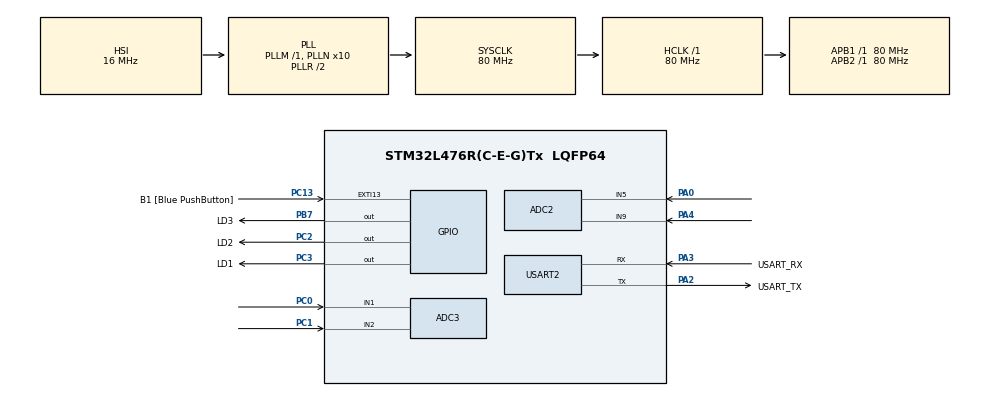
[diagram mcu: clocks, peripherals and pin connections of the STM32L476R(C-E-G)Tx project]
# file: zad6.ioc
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ADC2.Channel-2\#ChannelRegularConversion=ADC_CHANNEL_9
ADC2.Channel-3\#ChannelRegularConversion=ADC_CHANNEL_5
ADC2.NbrOfConversion=2
ADC2.NbrOfConversionFlag=1
ADC2.OffsetNumber-2\#ChannelRegularConversion=ADC_OFFSET_NONE
ADC2.OffsetNumber-3\#ChannelRegularConversion=ADC_OFFSET_NONE
ADC2.Overrun=ADC_OVR_DATA_OVERWRITTEN
ADC2.Rank-2\#ChannelRegularConversion=1
ADC2.Rank-3\#ChannelRegularConversion=2
ADC2.SamplingTime-2\#ChannelRegularConversion=ADC_SAMPLETIME_247CYCLES_5
ADC2.SamplingTime-3\#ChannelRegularConversion=ADC_SAMPLETIME_247CYCLES_5
ADC3.Channel-1\#ChannelRegularConversion=ADC_CHANNEL_1
ADC3.Channel-2\#ChannelRegularConversion=ADC_CHANNEL_2
ADC3.NbrOfConversion=2
ADC3.NbrOfConversionFlag=1
ADC3.OffsetNumber-1\#ChannelRegularConversion=ADC_OFFSET_NONE
ADC3.OffsetNumber-2\#ChannelRegularConversion=ADC_OFFSET_NONE
ADC3.Rank-1\#ChannelRegularConversion=1
ADC3.Rank-2\#ChannelRegularConversion=2
ADC3.SamplingTime-1\#ChannelRegularConversion=ADC_SAMPLETIME_640CYCLES_5
ADC3.SamplingTime-2\#ChannelRegularConversion=ADC_SAMPLETIME_640CYCLES_5
Mcu.Family=STM32L4
Mcu.Name=STM32L476R(C-E-G)Tx
Mcu.Package=LQFP64
NVIC.EXTI15_10_IRQn=true\:6\:0\:true\:false\:true\:true\:true\:true
NVIC.PriorityGroup=NVIC_PRIORITYGROUP_4
PA0.Signal=ADCx_IN5
PA13\ (JTMS-SWDIO).GPIO_Label=TMS
PA13\ (JTMS-SWDIO).Mode=Serial_Wire
PA13\ (JTMS-SWDIO).Signal=SYS_JTMS-SWDIO
PA14\ (JTCK-SWCLK).GPIO_Label=TCK
PA14\ (JTCK-SWCLK).Mode=Serial_Wire
PA14\ (JTCK-SWCLK).Signal=SYS_JTCK-SWCLK
PA2.GPIO_Label=USART_TX
PA2.GPIO_Mode=GPIO_MODE_AF_PP
PA2.GPIO_PuPd=GPIO_NOPULL
PA2.GPIO_Speed=GPIO_SPEED_FREQ_VERY_HIGH
PA2.Mode=Asynchronous
PA2.Signal=USART2_TX
PA3.GPIO_Label=USART_RX
PA3.GPIO_Mode=GPIO_MODE_AF_PP
PA3.GPIO_PuPd=GPIO_NOPULL
PA3.GPIO_Speed=GPIO_SPEED_FREQ_VERY_HIGH
PA3.Mode=Asynchronous
PA3.Signal=USART2_RX
PA4.Signal=ADCx_IN9
PB3\ (JTDO-TRACESWO).GPIO_Label=SWO
PB3\ (JTDO-TRACESWO).Signal=SYS_JTDO-SWO
PB7.GPIO_Label=LD3
PB7.Signal=GPIO_Output
PC0.Signal=ADCx_IN1
PC1.Signal=ADCx_IN2
PC13.GPIO_Label=B1 [Blue PushButton]
PC13.GPIO_ModeDefaultEXTI=GPIO_MODE_IT_FALLING
PC13.GPIO_PuPd=GPIO_NOPULL
PC13.Signal=GPXTI13
PC14-OSC32_IN\ (PC14).Mode=LSE-External-Oscillator
PC14-OSC32_IN\ (PC14).Signal=RCC_OSC32_IN
PC15-OSC32_OUT\ (PC15).Mode=LSE-External-Oscillator
PC15-OSC32_OUT\ (PC15).Signal=RCC_OSC32_OUT
PC2.GPIO_Label=LD2
PC2.Signal=GPIO_Output
PC3.GPIO_Label=LD1
PC3.Signal=GPIO_Output
PH0-OSC_IN\ (PH0).Signal=RCC_OSC_IN
PH1-OSC_OUT\ (PH1).Signal=RCC_OSC_OUT
ProjectManager.HeapSize=0x200
ProjectManager.StackSize=0x400
ProjectManager.TargetToolchain=STM32CubeIDE
RCC.ADCFreq_Value=64000000
RCC.AHBFreq_Value=80000000
RCC.APB1Freq_Value=80000000
RCC.APB1TimFreq_Value=80000000
RCC.APB2Freq_Value=80000000
RCC.APB2TimFreq_Value=80000000
RCC.CortexFreq_Value=80000000
RCC.HCLKFreq_Value=80000000
RCC.HSE_VALUE=8000000
RCC.HSI_VALUE=16000000
RCC.MSI_VALUE=4000000
RCC.PLLN=10
RCC.PLLSourceVirtual=RCC_PLLSOURCE_HSI
RCC.PREFETCH_ENABLE=1
RCC.SYSCLKFreq_VALUE=80000000
RCC.SYSCLKSource=RCC_SYSCLKSOURCE_PLLCLK
RCC.USBFreq_Value=64000000
RCC.VCOOutputFreq_Value=160000000
SH.ADCx_IN1.0=ADC3_IN1,IN1-Single-Ended
SH.ADCx_IN2.0=ADC3_IN2,IN2-Single-Ended
SH.ADCx_IN5.0=ADC2_IN5,IN5-Single-Ended
SH.ADCx_IN9.0=ADC2_IN9,IN9-Single-Ended
USART2.VirtualMode-Asynchronous=VM_ASYNC
board=NUCLEO-L476RG

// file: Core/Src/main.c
/* USER CODE BEGIN Header */
/**
  ******************************************************************************
  * @file           : main.c
  * @brief          : Main program body
  ******************************************************************************
  * @attention
  *
  * Copyright (c) 2025 STMicroelectronics.
  * All rights reserved.
  *
  * This software is licensed under terms that can be found in the LICENSE file
  * in the root directory of this software component.
  * If no LICENSE file comes with this software, it is provided AS-IS.
  *
  ******************************************************************************
  */
/* USER CODE END Header */
#include "main.h"
#include "adc.h"
#include "usart.h"
#include "gpio.h"

/* USER CODE BEGIN Includes */
#include <stdio.h>
#include <math.h>
/* USER CODE END Includes */

/* USER CODE BEGIN PM */
#define ADC2_SAMPLES 16
/* USER CODE END PM */

/* USER CODE BEGIN PV */
uint32_t adc_raw[2] = {0,0};
volatile uint32_t adc_mv[2] = {0,0};

uint32_t adc2_raw[2] = {0,0};
volatile uint32_t adc2_mv[2] = {0,0};
/* USER CODE END PV */

void SystemClock_Config(void);
void PeriphCommonClock_Config(void);

/* USER CODE BEGIN 0 */

void ADC2_Read_All(void)
{

    HAL_ADC_Start(&hadc2);
    HAL_ADC_PollForConversion(&hadc2, HAL_MAX_DELAY);
    adc2_raw[0] = HAL_ADC_GetValue(&hadc2);

    HAL_ADC_PollForConversion(&hadc2, HAL_MAX_DELAY);
    adc2_raw[1] = HAL_ADC_GetValue(&hadc2);

    // Convert to mV
    adc2_mv[0] = (adc2_raw[0] * 3300) / 4095;
    adc2_mv[1] = (adc2_raw[1] * 3300) / 4095;
}

void ADC3_Read_Multi(void)
{

    HAL_ADC_Start(&hadc3);
    HAL_ADC_PollForConversion(&hadc3, HAL_MAX_DELAY);
    adc_raw[0] = HAL_ADC_GetValue(&hadc3);

    HAL_ADC_PollForConversion(&hadc3, HAL_MAX_DELAY);
    adc_raw[1] = HAL_ADC_GetValue(&hadc3);

    adc_mv[0] = (adc_raw[0] * 3300) / 4095;
    adc_mv[1] = (adc_raw[1] * 3300) / 4095;
}

uint32_t ADC3_Read(void)
{
    HAL_ADC_Start(&hadc3);                                     // Start ADC
    HAL_ADC_PollForConversion(&hadc3, HAL_MAX_DELAY);          // Wait
    uint32_t value = HAL_ADC_GetValue(&hadc3);                 // Read
    HAL_ADC_Stop(&hadc3);                                      // Stop
    return value;
}

uint32_t ADC_To_mV(uint32_t adc_value)
{
    return (adc_value * 3300) / 4095;
}

uint32_t ADC2_To_mV(uint32_t adc_val)
{
    return (adc_val * 3300) / 4095;
}

void LED_Line_Update(uint32_t voltage_mv)
{
    HAL_GPIO_WritePin(LD1_GPIO_Port, LD1_Pin, GPIO_PIN_RESET);
    HAL_GPIO_WritePin(LD2_GPIO_Port, LD2_Pin, GPIO_PIN_RESET);
    HAL_GPIO_WritePin(LD3_GPIO_Port, LD3_Pin, GPIO_PIN_RESET);

    if (voltage_mv > 3000)
            HAL_GPIO_WritePin(LD3_GPIO_Port, LD3_Pin, GPIO_PIN_SET);

    if (voltage_mv >= 2000)
           HAL_GPIO_WritePin(LD2_GPIO_Port, LD2_Pin, GPIO_PIN_SET);

    if (voltage_mv >= 1000)
        HAL_GPIO_WritePin(LD1_GPIO_Port, LD1_Pin, GPIO_PIN_SET);
}

void ADC_Send_UART(uint32_t adc_value_mv)
{
    char buffer[50];
    int len = snprintf(buffer, sizeof(buffer), "ADC value: %lu mV\r\n", adc_value_mv);
    HAL_UART_Transmit(&huart2, (uint8_t*)buffer, len, HAL_MAX_DELAY);
}

#include <math.h>
#include <stdint.h>

// Fotorezystor 10kΩ + 10kΩ dzielnik
#include <math.h>
#include <stdint.h>

// Fotorezystor 10kΩ + 10kΩ dzielnik
float Photo_CalcLux(uint32_t adc_mv)
{
    if (adc_mv < 1) adc_mv = 1;       // zabezpieczenie
    const float Vref = 3300.0f;       // mV
    const float R_FIXED = 4000.0f;   // 10kΩ

    float R_photo = R_FIXED * (float)adc_mv / (Vref - (float)adc_mv);

    const float A = 80000.0f;  // dopasowany do LDR 10kΩ
    const float B = 0.8f;

    float lux = powf(A / R_photo, 1.0f / B);

    return lux;
}

// NTC 10kΩ + 10kΩ dzielnik
float NTC_CalcTemp(uint32_t adc_mv)
{
    if (adc_mv < 1) adc_mv = 1;
    const float Vref = 3300.0f;
    const float R_FIXED = 10000.0f;  // poprawione 10kΩ
    const float B = 3950.0f;
    const float T0 = 298.15f;        // 25°C w K
    const float R0 = 10000.0f;

    float Rntc = R_FIXED * (float)adc_mv / (Vref - (float)adc_mv);

    float invT = (1.0f / T0) + (1.0f / B) * logf(Rntc / R0);

    float temp_C = (1.0f / invT) - 283.15f;

    return temp_C;
}

void HAL_GPIO_EXTI_Callback(uint16_t GPIO_Pin)
{
    if(GPIO_Pin == B1_Pin)
    {
    	ADC3_Read_Multi();
    	ADC2_Read_All();

    	float lux = Photo_CalcLux(adc2_mv[0]);
    	float temp = NTC_CalcTemp(adc2_mv[1]);

    	char buffer[200];
    	int len = snprintf(buffer, sizeof(buffer),
    	                   "ADC3: ch1=%lumV ch2=%lumV | PHOTO=%lumV lux=%.1f | NTC=%lumV temp=%.2fC\r\n",
    	                   adc_mv[0], adc_mv[1],
    	                   adc2_mv[0], lux,
    	                   adc2_mv[1], temp);

    	HAL_UART_Transmit(&huart2, (uint8_t*)buffer, len, HAL_MAX_DELAY);

    }
}

/* USER CODE END 0 */

int main(void)
{

  /* MCU Configuration--------------------------------------------------------*/

  /* Reset of all peripherals, Initializes the Flash interface and the Systick. */
  HAL_Init();

  /* Configure the system clock */
  SystemClock_Config();

  /* Configure the peripherals common clocks */
  PeriphCommonClock_Config();

  /* Initialize all configured peripherals */
  MX_GPIO_Init();
  MX_USART2_UART_Init();
  MX_ADC3_Init();
  MX_ADC2_Init();

  /* Infinite loop */
  /* USER CODE BEGIN WHILE */
  while (1)
  {
	    ADC3_Read_Multi();
	    LED_Line_Update(adc_mv[0]);

	    ADC2_Read_All();

	    float lux = Photo_CalcLux(adc2_mv[0]);
	    float temp = NTC_CalcTemp(adc2_mv[1]);

	    HAL_Delay(500);

    /* USER CODE END WHILE */

  }
}

void SystemClock_Config(void)
{
  RCC_OscInitTypeDef RCC_OscInitStruct = {0};
  RCC_ClkInitTypeDef RCC_ClkInitStruct = {0};

  /** Configure the main internal regulator output voltage
  */
  if (HAL_PWREx_ControlVoltageScaling(PWR_REGULATOR_VOLTAGE_SCALE1) != HAL_OK)
  {
    Error_Handler();
  }

  /** Initializes the RCC Oscillators according to the specified parameters
  * in the RCC_OscInitTypeDef structure.
  */
  RCC_OscInitStruct.OscillatorType = RCC_OSCILLATORTYPE_HSI;
  RCC_OscInitStruct.HSIState = RCC_HSI_ON;
  RCC_OscInitStruct.HSICalibrationValue = RCC_HSICALIBRATION_DEFAULT;
  RCC_OscInitStruct.PLL.PLLState = RCC_PLL_ON;
  RCC_OscInitStruct.PLL.PLLSource = RCC_PLLSOURCE_HSI;
  RCC_OscInitStruct.PLL.PLLM = 1;
  RCC_OscInitStruct.PLL.PLLN = 10;
  RCC_OscInitStruct.PLL.PLLP = RCC_PLLP_DIV7;
  RCC_OscInitStruct.PLL.PLLQ = RCC_PLLQ_DIV2;
  RCC_OscInitStruct.PLL.PLLR = RCC_PLLR_DIV2;
  if (HAL_RCC_OscConfig(&RCC_OscInitStruct) != HAL_OK)
  {
    Error_Handler();
  }

  /** Initializes the CPU, AHB and APB buses clocks
  */
  RCC_ClkInitStruct.ClockType = RCC_CLOCKTYPE_HCLK|RCC_CLOCKTYPE_SYSCLK
                              |RCC_CLOCKTYPE_PCLK1|RCC_CLOCKTYPE_PCLK2;
  RCC_ClkInitStruct.SYSCLKSource = RCC_SYSCLKSOURCE_PLLCLK;
  RCC_ClkInitStruct.AHBCLKDivider = RCC_SYSCLK_DIV1;
  RCC_ClkInitStruct.APB1CLKDivider = RCC_HCLK_DIV1;
  RCC_ClkInitStruct.APB2CLKDivider = RCC_HCLK_DIV1;

  if (HAL_RCC_ClockConfig(&RCC_ClkInitStruct, FLASH_LATENCY_4) != HAL_OK)
  {
    Error_Handler();
  }
}

void PeriphCommonClock_Config(void)
{
  RCC_PeriphCLKInitTypeDef PeriphClkInit = {0};

  /** Initializes the peripherals clock
  */
  PeriphClkInit.PeriphClockSelection = RCC_PERIPHCLK_ADC;
  PeriphClkInit.AdcClockSelection = RCC_ADCCLKSOURCE_PLLSAI1;
  PeriphClkInit.PLLSAI1.PLLSAI1Source = RCC_PLLSOURCE_HSI;
  PeriphClkInit.PLLSAI1.PLLSAI1M = 1;
  PeriphClkInit.PLLSAI1.PLLSAI1N = 8;
  PeriphClkInit.PLLSAI1.PLLSAI1P = RCC_PLLP_DIV7;
  PeriphClkInit.PLLSAI1.PLLSAI1Q = RCC_PLLQ_DIV2;
  PeriphClkInit.PLLSAI1.PLLSAI1R = RCC_PLLR_DIV2;
  PeriphClkInit.PLLSAI1.PLLSAI1ClockOut = RCC_PLLSAI1_ADC1CLK;
  if (HAL_RCCEx_PeriphCLKConfig(&PeriphClkInit) != HAL_OK)
  {
    Error_Handler();
  }
}

void Error_Handler(void)
{
  __disable_irq();
  while (1)
  {
  }
}
